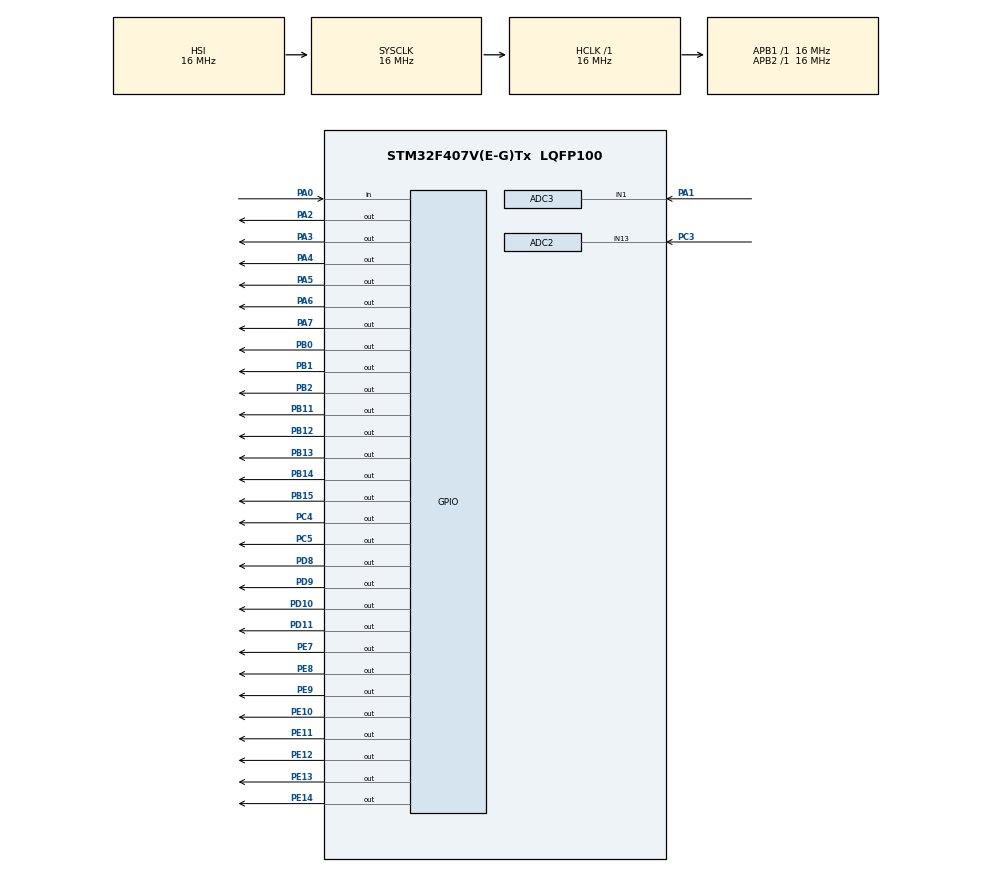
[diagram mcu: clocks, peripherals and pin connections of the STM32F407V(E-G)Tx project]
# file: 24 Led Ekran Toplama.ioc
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ADC2.Channel-1\#ChannelRegularConversion=ADC_CHANNEL_13
ADC2.NbrOfConversionFlag=1
ADC2.Rank-1\#ChannelRegularConversion=1
ADC2.Resolution=ADC_RESOLUTION_8B
ADC2.SamplingTime-1\#ChannelRegularConversion=ADC_SAMPLETIME_144CYCLES
ADC3.Channel-1\#ChannelRegularConversion=ADC_CHANNEL_1
ADC3.NbrOfConversionFlag=1
ADC3.Rank-1\#ChannelRegularConversion=1
ADC3.Resolution=ADC_RESOLUTION_8B
ADC3.SamplingTime-1\#ChannelRegularConversion=ADC_SAMPLETIME_144CYCLES
Mcu.Family=STM32F4
Mcu.Name=STM32F407V(E-G)Tx
Mcu.Package=LQFP100
NVIC.ADC_IRQn=true\:0\:0\:false\:false\:true\:true\:true\:true
NVIC.PriorityGroup=NVIC_PRIORITYGROUP_4
PA0-WKUP.Signal=GPIO_Input
PA1.Signal=ADCx_IN1
PA2.Signal=GPIO_Output
PA3.Signal=GPIO_Output
PA4.Signal=GPIO_Output
PA5.Signal=GPIO_Output
PA6.Signal=GPIO_Output
PA7.Signal=GPIO_Output
PB0.Signal=GPIO_Output
PB1.Signal=GPIO_Output
PB11.Signal=GPIO_Output
PB12.Signal=GPIO_Output
PB13.Signal=GPIO_Output
PB14.Signal=GPIO_Output
PB15.Signal=GPIO_Output
PB2.Signal=GPIO_Output
PC3.Signal=ADCx_IN13
PC4.Signal=GPIO_Output
PC5.Signal=GPIO_Output
PD10.Signal=GPIO_Output
PD11.Signal=GPIO_Output
PD8.Signal=GPIO_Output
PD9.Signal=GPIO_Output
PE10.Signal=GPIO_Output
PE11.Signal=GPIO_Output
PE12.Signal=GPIO_Output
PE13.Signal=GPIO_Output
PE14.Signal=GPIO_Output
PE7.Signal=GPIO_Output
PE8.Signal=GPIO_Output
PE9.Signal=GPIO_Output
ProjectManager.HeapSize=0x200
ProjectManager.StackSize=0x400
ProjectManager.TargetToolchain=STM32CubeIDE
RCC.AHBFreq_Value=16000000
RCC.APB1Freq_Value=16000000
RCC.APB2Freq_Value=16000000
RCC.CortexFreq_Value=16000000
RCC.HSE_VALUE=25000000
RCC.HSI_VALUE=16000000
RCC.LSE_VALUE=32768
RCC.SYSCLKFreq_VALUE=16000000
RCC.VCOOutputFreq_Value=192000000
SH.ADCx_IN1.0=ADC3_IN1,IN1
SH.ADCx_IN13.0=ADC2_IN13,IN13
board=custom

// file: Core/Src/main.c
/* USER CODE BEGIN Header */
/**
 ******************************************************************************
 * @file           : main.c
 * @brief          : Main program body
 ******************************************************************************
 * @attention
 *
 * Copyright (c) 2026 STMicroelectronics.
 * All rights reserved.
 *
 * This software is licensed under terms that can be found in the LICENSE file
 * in the root directory of this software component.
 * If no LICENSE file comes with this software, it is provided AS-IS.
 *
 ******************************************************************************
 */
/* USER CODE END Header */
#include "main.h"

ADC_HandleTypeDef hadc2;
ADC_HandleTypeDef hadc3;

/* USER CODE BEGIN PV */

volatile uint8_t analog_variable1 = 0;
volatile uint8_t analog_variable2 = 0;
volatile uint8_t clean_value1 = 0;
volatile uint8_t clean_value2 = 0;
volatile uint8_t button_state = 0;
volatile uint8_t summation = 0;
uint8_t zero = 0;

void Led_1_Numbers(uint8_t number);
void Led_2_Numbers(uint8_t number);
void Led_3_Numbers(uint8_t number);
void Led_4_Numbers(uint8_t number);
uint8_t ADC_Translation_Division(uint8_t variable);
void Print_screen12(uint8_t number);
void Print_screen34(uint8_t number);
uint8_t addition(void);

/* USER CODE END PV */

void SystemClock_Config(void);
static void MX_GPIO_Init(void);
static void MX_ADC2_Init(void);
static void MX_ADC3_Init(void);
/* USER CODE BEGIN PFP */

void HAL_ADC_ConvCpltCallback(ADC_HandleTypeDef *hadc) {
	if (hadc->Instance == ADC2) {
		analog_variable1 = HAL_ADC_GetValue(&hadc2);
	} else if (hadc->Instance == ADC3) {
		analog_variable2 = HAL_ADC_GetValue(&hadc3);
	}
}

/* USER CODE END PFP */

/* USER CODE BEGIN 0 */

void Led_1_Numbers(uint8_t number);

void Led_2_Numbers(uint8_t number);

void Led_3_Numbers(uint8_t number);

void Led_4_Numbers(uint8_t number);

uint8_t ADC_Translation_Division(uint8_t variable);

void Print_screen12(uint8_t number);

void Print_screen34(uint8_t number);

uint8_t addition(void);

void Reset_state(void);

/* USER CODE END 0 */

int main(void) {

	/* MCU Configuration--------------------------------------------------------*/

	/* Reset of all peripherals, Initializes the Flash interface and the Systick. */
	HAL_Init();

	/* Configure the system clock */
	SystemClock_Config();

	/* Initialize all configured peripherals */
	MX_GPIO_Init();
	MX_ADC2_Init();
	MX_ADC3_Init();
	/* USER CODE BEGIN 2 */
	HAL_ADC_Start_IT(&hadc2);
	HAL_ADC_Start_IT(&hadc3);

	/* USER CODE END 2 */

	/* Infinite loop */
	while (1) {

		/* USER CODE BEGIN 3 */

		HAL_ADC_Start_IT(&hadc2);
		HAL_ADC_Start_IT(&hadc3);

		clean_value1 = ADC_Translation_Division(analog_variable1);
		clean_value2 = ADC_Translation_Division(analog_variable2);

		button_state = HAL_GPIO_ReadPin(GPIOA, GPIO_PIN_0);

		Reset_state();

		if (button_state == 1)
		{
		    summation = addition();

		    Print_screen12(summation);
		    Print_screen34(0);
		}
		else
		{
		    Print_screen12(clean_value1);
		    Print_screen34(clean_value2);
		}

	}
	/* USER CODE END 3 */
}

uint8_t addition(void) {
	return clean_value1 + clean_value2;
}
void Reset_state(void){
	HAL_GPIO_WritePin(GPIOA, GPIO_PIN_2 | GPIO_PIN_3 | GPIO_PIN_4 | GPIO_PIN_5 | GPIO_PIN_6 | GPIO_PIN_7, GPIO_PIN_RESET);

	HAL_GPIO_WritePin(GPIOC, GPIO_PIN_4 | GPIO_PIN_5, GPIO_PIN_RESET);

	HAL_GPIO_WritePin(GPIOB, GPIO_PIN_0 | GPIO_PIN_1 | GPIO_PIN_2 | GPIO_PIN_11 | GPIO_PIN_12 | GPIO_PIN_13 | GPIO_PIN_14 | GPIO_PIN_15, GPIO_PIN_RESET);

	HAL_GPIO_WritePin(GPIOE, GPIO_PIN_7 | GPIO_PIN_8 | GPIO_PIN_9 | GPIO_PIN_10 | GPIO_PIN_11 | GPIO_PIN_12 | GPIO_PIN_13 | GPIO_PIN_14, GPIO_PIN_RESET);

	HAL_GPIO_WritePin(GPIOD, GPIO_PIN_8 | GPIO_PIN_9 | GPIO_PIN_10 | GPIO_PIN_11, GPIO_PIN_RESET);
}

void Print_screen12(uint8_t number) {
    uint8_t units = number % 10;
    uint8_t tens = number / 10;
    Led_2_Numbers(tens);
    Led_1_Numbers(units);
}

void Print_screen34(uint8_t number) {
    uint8_t units = number % 10;
    uint8_t tens = number / 10;
    Led_4_Numbers(tens);
    Led_3_Numbers(units);
}

uint8_t ADC_Translation_Division(uint8_t variable) {

    if (variable <= 12) return 0;
    else if (variable <= 24) return 1;
    else if (variable <= 36) return 2;
    else if (variable <= 48) return 3;
    else if (variable <= 60) return 4;
    else if (variable <= 72) return 5;
    else if (variable <= 84) return 6;
    else if (variable <= 96) return 7;
    else if (variable <= 108) return 8;
    else if (variable <= 120) return 9;
    else if (variable <= 132) return 10;
    else if (variable <= 144) return 11;
    else if (variable <= 156) return 12;
    else if (variable <= 168) return 13;
    else if (variable <= 180) return 14;
    else if (variable <= 192) return 15;
    else if (variable <= 204) return 16;
    else if (variable <= 216) return 17;
    else if (variable <= 228) return 18;
    else if (variable <= 240) return 19;
    else return 20;

}

void Led_1_Numbers(uint8_t number) {

	HAL_GPIO_WritePin(GPIOE, GPIO_PIN_8, GPIO_PIN_RESET);

	HAL_GPIO_WritePin(GPIOE, GPIO_PIN_9, GPIO_PIN_RESET);

	HAL_GPIO_WritePin(GPIOE, GPIO_PIN_10, GPIO_PIN_RESET);

	HAL_GPIO_WritePin(GPIOE, GPIO_PIN_11, GPIO_PIN_RESET);

	HAL_GPIO_WritePin(GPIOE, GPIO_PIN_14, GPIO_PIN_RESET);

	HAL_GPIO_WritePin(GPIOE, GPIO_PIN_13, GPIO_PIN_RESET);

	HAL_GPIO_WritePin(GPIOE, GPIO_PIN_12, GPIO_PIN_RESET);

	if (number == 0) {

		HAL_GPIO_WritePin(GPIOE, GPIO_PIN_8, GPIO_PIN_SET);

		HAL_GPIO_WritePin(GPIOE, GPIO_PIN_9, GPIO_PIN_SET);

		HAL_GPIO_WritePin(GPIOE, GPIO_PIN_10, GPIO_PIN_SET);

		HAL_GPIO_WritePin(GPIOE, GPIO_PIN_14, GPIO_PIN_SET);

		HAL_GPIO_WritePin(GPIOE, GPIO_PIN_13, GPIO_PIN_SET);

		HAL_GPIO_WritePin(GPIOE, GPIO_PIN_12, GPIO_PIN_SET);

	} else if (number == 1) {

		HAL_GPIO_WritePin(GPIOE, GPIO_PIN_8, GPIO_PIN_SET);

		HAL_GPIO_WritePin(GPIOE, GPIO_PIN_14, GPIO_PIN_SET);

	} else if (number == 2) {

		HAL_GPIO_WritePin(GPIOE, GPIO_PIN_8, GPIO_PIN_SET);

		HAL_GPIO_WritePin(GPIOE, GPIO_PIN_9, GPIO_PIN_SET);

		HAL_GPIO_WritePin(GPIOE, GPIO_PIN_11, GPIO_PIN_SET);

		HAL_GPIO_WritePin(GPIOE, GPIO_PIN_12, GPIO_PIN_SET);

		HAL_GPIO_WritePin(GPIOE, GPIO_PIN_13, GPIO_PIN_SET);

	} else if (number == 3) {

		HAL_GPIO_WritePin(GPIOE, GPIO_PIN_9, GPIO_PIN_SET);

		HAL_GPIO_WritePin(GPIOE, GPIO_PIN_8, GPIO_PIN_SET);

		HAL_GPIO_WritePin(GPIOE, GPIO_PIN_11, GPIO_PIN_SET);

		HAL_GPIO_WritePin(GPIOE, GPIO_PIN_14, GPIO_PIN_SET);

		HAL_GPIO_WritePin(GPIOE, GPIO_PIN_13, GPIO_PIN_SET);

	} else if (number == 4) {

		HAL_GPIO_WritePin(GPIOE, GPIO_PIN_10, GPIO_PIN_SET);

		HAL_GPIO_WritePin(GPIOE, GPIO_PIN_11, GPIO_PIN_SET);

		HAL_GPIO_WritePin(GPIOE, GPIO_PIN_8, GPIO_PIN_SET);

		HAL_GPIO_WritePin(GPIOE, GPIO_PIN_14, GPIO_PIN_SET);

	} else if (number == 5) {

		HAL_GPIO_WritePin(GPIOE, GPIO_PIN_9, GPIO_PIN_SET);

		HAL_GPIO_WritePin(GPIOE, GPIO_PIN_10, GPIO_PIN_SET);

		HAL_GPIO_WritePin(GPIOE, GPIO_PIN_11, GPIO_PIN_SET);

		HAL_GPIO_WritePin(GPIOE, GPIO_PIN_14, GPIO_PIN_SET);

		HAL_GPIO_WritePin(GPIOE, GPIO_PIN_13, GPIO_PIN_SET);

	} else if (number == 6) {

		HAL_GPIO_WritePin(GPIOE, GPIO_PIN_9, GPIO_PIN_SET);

		HAL_GPIO_WritePin(GPIOE, GPIO_PIN_10, GPIO_PIN_SET);

		HAL_GPIO_WritePin(GPIOE, GPIO_PIN_11, GPIO_PIN_SET);

		HAL_GPIO_WritePin(GPIOE, GPIO_PIN_14, GPIO_PIN_SET);

		HAL_GPIO_WritePin(GPIOE, GPIO_PIN_13, GPIO_PIN_SET);

		HAL_GPIO_WritePin(GPIOE, GPIO_PIN_12, GPIO_PIN_SET);

	} else if (number == 7) {

		HAL_GPIO_WritePin(GPIOE, GPIO_PIN_9, GPIO_PIN_SET);

		HAL_GPIO_WritePin(GPIOE, GPIO_PIN_8, GPIO_PIN_SET);

		HAL_GPIO_WritePin(GPIOE, GPIO_PIN_14, GPIO_PIN_SET);

	} else if (number == 8) {

		HAL_GPIO_WritePin(GPIOE, GPIO_PIN_9, GPIO_PIN_SET);

		HAL_GPIO_WritePin(GPIOE, GPIO_PIN_10, GPIO_PIN_SET);

		HAL_GPIO_WritePin(GPIOE, GPIO_PIN_11, GPIO_PIN_SET);

		HAL_GPIO_WritePin(GPIOE, GPIO_PIN_14, GPIO_PIN_SET);

		HAL_GPIO_WritePin(GPIOE, GPIO_PIN_13, GPIO_PIN_SET);

		HAL_GPIO_WritePin(GPIOE, GPIO_PIN_12, GPIO_PIN_SET);

		HAL_GPIO_WritePin(GPIOE, GPIO_PIN_8, GPIO_PIN_SET);

	} else if (number == 9) {

		HAL_GPIO_WritePin(GPIOE, GPIO_PIN_9, GPIO_PIN_SET);

		HAL_GPIO_WritePin(GPIOE, GPIO_PIN_10, GPIO_PIN_SET);

		HAL_GPIO_WritePin(GPIOE, GPIO_PIN_11, GPIO_PIN_SET);

		HAL_GPIO_WritePin(GPIOE, GPIO_PIN_14, GPIO_PIN_SET);

		HAL_GPIO_WritePin(GPIOE, GPIO_PIN_13, GPIO_PIN_SET);

		HAL_GPIO_WritePin(GPIOE, GPIO_PIN_8, GPIO_PIN_SET);

	}

}

void Led_2_Numbers(uint8_t number) {

	HAL_GPIO_WritePin(GPIOB, GPIO_PIN_0, GPIO_PIN_RESET);

	HAL_GPIO_WritePin(GPIOB, GPIO_PIN_1, GPIO_PIN_RESET);

	HAL_GPIO_WritePin(GPIOB, GPIO_PIN_2, GPIO_PIN_RESET);

	HAL_GPIO_WritePin(GPIOE, GPIO_PIN_7, GPIO_PIN_RESET);

	HAL_GPIO_WritePin(GPIOB, GPIO_PIN_13, GPIO_PIN_RESET);

	HAL_GPIO_WritePin(GPIOB, GPIO_PIN_12, GPIO_PIN_RESET);

	HAL_GPIO_WritePin(GPIOB, GPIO_PIN_11, GPIO_PIN_RESET);

	if (number == 0) {

		HAL_GPIO_WritePin(GPIOB, GPIO_PIN_0, GPIO_PIN_SET);

		HAL_GPIO_WritePin(GPIOB, GPIO_PIN_1, GPIO_PIN_SET);

		HAL_GPIO_WritePin(GPIOB, GPIO_PIN_2, GPIO_PIN_SET);

		HAL_GPIO_WritePin(GPIOB, GPIO_PIN_13, GPIO_PIN_SET);

		HAL_GPIO_WritePin(GPIOB, GPIO_PIN_12, GPIO_PIN_SET);

		HAL_GPIO_WritePin(GPIOB, GPIO_PIN_11, GPIO_PIN_SET);

	} else if (number == 1) {

		HAL_GPIO_WritePin(GPIOB, GPIO_PIN_0, GPIO_PIN_SET);

		HAL_GPIO_WritePin(GPIOB, GPIO_PIN_13, GPIO_PIN_SET);

	} else if (number == 2) {

		HAL_GPIO_WritePin(GPIOB, GPIO_PIN_0, GPIO_PIN_SET);

		HAL_GPIO_WritePin(GPIOB, GPIO_PIN_1, GPIO_PIN_SET);

		HAL_GPIO_WritePin(GPIOE, GPIO_PIN_7, GPIO_PIN_SET);

		HAL_GPIO_WritePin(GPIOB, GPIO_PIN_11, GPIO_PIN_SET);

		HAL_GPIO_WritePin(GPIOB, GPIO_PIN_12, GPIO_PIN_SET);

	} else if (number == 3) {

		HAL_GPIO_WritePin(GPIOB, GPIO_PIN_1, GPIO_PIN_SET);

		HAL_GPIO_WritePin(GPIOB, GPIO_PIN_0, GPIO_PIN_SET);

		HAL_GPIO_WritePin(GPIOE, GPIO_PIN_7, GPIO_PIN_SET);

		HAL_GPIO_WritePin(GPIOB, GPIO_PIN_13, GPIO_PIN_SET);

		HAL_GPIO_WritePin(GPIOB, GPIO_PIN_12, GPIO_PIN_SET);

	} else if (number == 4) {

		HAL_GPIO_WritePin(GPIOB, GPIO_PIN_2, GPIO_PIN_SET);

		HAL_GPIO_WritePin(GPIOE, GPIO_PIN_7, GPIO_PIN_SET);

		HAL_GPIO_WritePin(GPIOB, GPIO_PIN_0, GPIO_PIN_SET);

		HAL_GPIO_WritePin(GPIOB, GPIO_PIN_13, GPIO_PIN_SET);

	} else if (number == 5) {

		HAL_GPIO_WritePin(GPIOB, GPIO_PIN_1, GPIO_PIN_SET);

		HAL_GPIO_WritePin(GPIOB, GPIO_PIN_2, GPIO_PIN_SET);

		HAL_GPIO_WritePin(GPIOE, GPIO_PIN_7, GPIO_PIN_SET);

		HAL_GPIO_WritePin(GPIOB, GPIO_PIN_13, GPIO_PIN_SET);

		HAL_GPIO_WritePin(GPIOB, GPIO_PIN_12, GPIO_PIN_SET);

	} else if (number == 6) {

		HAL_GPIO_WritePin(GPIOB, GPIO_PIN_1, GPIO_PIN_SET);

		HAL_GPIO_WritePin(GPIOB, GPIO_PIN_2, GPIO_PIN_SET);

		HAL_GPIO_WritePin(GPIOE, GPIO_PIN_7, GPIO_PIN_SET);

		HAL_GPIO_WritePin(GPIOB, GPIO_PIN_13, GPIO_PIN_SET);

		HAL_GPIO_WritePin(GPIOB, GPIO_PIN_12, GPIO_PIN_SET);

		HAL_GPIO_WritePin(GPIOB, GPIO_PIN_11, GPIO_PIN_SET);

	} else if (number == 7) {

		HAL_GPIO_WritePin(GPIOB, GPIO_PIN_1, GPIO_PIN_SET);

		HAL_GPIO_WritePin(GPIOB, GPIO_PIN_0, GPIO_PIN_SET);

		HAL_GPIO_WritePin(GPIOB, GPIO_PIN_13, GPIO_PIN_SET);

	} else if (number == 8) {

		HAL_GPIO_WritePin(GPIOB, GPIO_PIN_1, GPIO_PIN_SET);

		HAL_GPIO_WritePin(GPIOB, GPIO_PIN_2, GPIO_PIN_SET);

		HAL_GPIO_WritePin(GPIOE, GPIO_PIN_7, GPIO_PIN_SET);

		HAL_GPIO_WritePin(GPIOB, GPIO_PIN_13, GPIO_PIN_SET);

		HAL_GPIO_WritePin(GPIOB, GPIO_PIN_12, GPIO_PIN_SET);

		HAL_GPIO_WritePin(GPIOB, GPIO_PIN_11, GPIO_PIN_SET);

		HAL_GPIO_WritePin(GPIOB, GPIO_PIN_0, GPIO_PIN_SET);

	} else if (number == 9) {

		HAL_GPIO_WritePin(GPIOB, GPIO_PIN_1, GPIO_PIN_SET);

		HAL_GPIO_WritePin(GPIOB, GPIO_PIN_2, GPIO_PIN_SET);

		HAL_GPIO_WritePin(GPIOE, GPIO_PIN_7, GPIO_PIN_SET);

		HAL_GPIO_WritePin(GPIOB, GPIO_PIN_13, GPIO_PIN_SET);

		HAL_GPIO_WritePin(GPIOB, GPIO_PIN_12, GPIO_PIN_SET);

		HAL_GPIO_WritePin(GPIOB, GPIO_PIN_0, GPIO_PIN_SET);

	}

}

void Led_3_Numbers(uint8_t number) {

	HAL_GPIO_WritePin(GPIOA, GPIO_PIN_6, GPIO_PIN_RESET);

	HAL_GPIO_WritePin(GPIOA, GPIO_PIN_7, GPIO_PIN_RESET);

	HAL_GPIO_WritePin(GPIOC, GPIO_PIN_4, GPIO_PIN_RESET);

	HAL_GPIO_WritePin(GPIOC, GPIO_PIN_5, GPIO_PIN_RESET);

	HAL_GPIO_WritePin(GPIOD, GPIO_PIN_8, GPIO_PIN_RESET);

	HAL_GPIO_WritePin(GPIOB, GPIO_PIN_15, GPIO_PIN_RESET);

	HAL_GPIO_WritePin(GPIOB, GPIO_PIN_14, GPIO_PIN_RESET);

	if (number == 0) {

		HAL_GPIO_WritePin(GPIOA, GPIO_PIN_6, GPIO_PIN_SET);

		HAL_GPIO_WritePin(GPIOA, GPIO_PIN_7, GPIO_PIN_SET);

		HAL_GPIO_WritePin(GPIOC, GPIO_PIN_4, GPIO_PIN_SET);

		HAL_GPIO_WritePin(GPIOD, GPIO_PIN_8, GPIO_PIN_SET);

		HAL_GPIO_WritePin(GPIOB, GPIO_PIN_15, GPIO_PIN_SET);

		HAL_GPIO_WritePin(GPIOB, GPIO_PIN_14, GPIO_PIN_SET);

	} else if (number == 1) {

		HAL_GPIO_WritePin(GPIOA, GPIO_PIN_6, GPIO_PIN_SET);

		HAL_GPIO_WritePin(GPIOD, GPIO_PIN_8, GPIO_PIN_SET);

	} else if (number == 2) {

		HAL_GPIO_WritePin(GPIOA, GPIO_PIN_6, GPIO_PIN_SET);

		HAL_GPIO_WritePin(GPIOA, GPIO_PIN_7, GPIO_PIN_SET);

		HAL_GPIO_WritePin(GPIOC, GPIO_PIN_5, GPIO_PIN_SET);

		HAL_GPIO_WritePin(GPIOB, GPIO_PIN_14, GPIO_PIN_SET);

		HAL_GPIO_WritePin(GPIOB, GPIO_PIN_15, GPIO_PIN_SET);

	} else if (number == 3) {

		HAL_GPIO_WritePin(GPIOA, GPIO_PIN_7, GPIO_PIN_SET);

		HAL_GPIO_WritePin(GPIOA, GPIO_PIN_6, GPIO_PIN_SET);

		HAL_GPIO_WritePin(GPIOC, GPIO_PIN_5, GPIO_PIN_SET);

		HAL_GPIO_WritePin(GPIOD, GPIO_PIN_8, GPIO_PIN_SET);

		HAL_GPIO_WritePin(GPIOB, GPIO_PIN_15, GPIO_PIN_SET);

	} else if (number == 4) {

		HAL_GPIO_WritePin(GPIOC, GPIO_PIN_4, GPIO_PIN_SET);

		HAL_GPIO_WritePin(GPIOC, GPIO_PIN_5, GPIO_PIN_SET);

		HAL_GPIO_WritePin(GPIOA, GPIO_PIN_6, GPIO_PIN_SET);

		HAL_GPIO_WritePin(GPIOD, GPIO_PIN_8, GPIO_PIN_SET);

	} else if (number == 5) {

		HAL_GPIO_WritePin(GPIOA, GPIO_PIN_7, GPIO_PIN_SET);

		HAL_GPIO_WritePin(GPIOC, GPIO_PIN_4, GPIO_PIN_SET);

		HAL_GPIO_WritePin(GPIOC, GPIO_PIN_5, GPIO_PIN_SET);

		HAL_GPIO_WritePin(GPIOD, GPIO_PIN_8, GPIO_PIN_SET);

		HAL_GPIO_WritePin(GPIOB, GPIO_PIN_15, GPIO_PIN_SET);

	} else if (number == 6) {

		HAL_GPIO_WritePin(GPIOA, GPIO_PIN_7, GPIO_PIN_SET);

		HAL_GPIO_WritePin(GPIOC, GPIO_PIN_4, GPIO_PIN_SET);

		HAL_GPIO_WritePin(GPIOC, GPIO_PIN_5, GPIO_PIN_SET);

		HAL_GPIO_WritePin(GPIOD, GPIO_PIN_8, GPIO_PIN_SET);

		HAL_GPIO_WritePin(GPIOB, GPIO_PIN_15, GPIO_PIN_SET);

		HAL_GPIO_WritePin(GPIOB, GPIO_PIN_14, GPIO_PIN_SET);

	} else if (number == 7) {

		HAL_GPIO_WritePin(GPIOA, GPIO_PIN_7, GPIO_PIN_SET);

		HAL_GPIO_WritePin(GPIOA, GPIO_PIN_6, GPIO_PIN_SET);

		HAL_GPIO_WritePin(GPIOD, GPIO_PIN_8, GPIO_PIN_SET);

	} else if (number == 8) {

		HAL_GPIO_WritePin(GPIOA, GPIO_PIN_7, GPIO_PIN_SET);

		HAL_GPIO_WritePin(GPIOC, GPIO_PIN_4, GPIO_PIN_SET);

		HAL_GPIO_WritePin(GPIOC, GPIO_PIN_5, GPIO_PIN_SET);

		HAL_GPIO_WritePin(GPIOD, GPIO_PIN_8, GPIO_PIN_SET);

		HAL_GPIO_WritePin(GPIOB, GPIO_PIN_15, GPIO_PIN_SET);

		HAL_GPIO_WritePin(GPIOB, GPIO_PIN_14, GPIO_PIN_SET);

		HAL_GPIO_WritePin(GPIOA, GPIO_PIN_6, GPIO_PIN_SET);

	} else if (number == 9) {

		HAL_GPIO_WritePin(GPIOA, GPIO_PIN_7, GPIO_PIN_SET);

		HAL_GPIO_WritePin(GPIOC, GPIO_PIN_4, GPIO_PIN_SET);

		HAL_GPIO_WritePin(GPIOC, GPIO_PIN_5, GPIO_PIN_SET);

		HAL_GPIO_WritePin(GPIOD, GPIO_PIN_8, GPIO_PIN_SET);

		HAL_GPIO_WritePin(GPIOB, GPIO_PIN_15, GPIO_PIN_SET);

		HAL_GPIO_WritePin(GPIOA, GPIO_PIN_6, GPIO_PIN_SET);

	}

}

void Led_4_Numbers(uint8_t number) {

	HAL_GPIO_WritePin(GPIOA, GPIO_PIN_2, GPIO_PIN_RESET);

	HAL_GPIO_WritePin(GPIOA, GPIO_PIN_3, GPIO_PIN_RESET);

	HAL_GPIO_WritePin(GPIOA, GPIO_PIN_4, GPIO_PIN_RESET);

	HAL_GPIO_WritePin(GPIOA, GPIO_PIN_5, GPIO_PIN_RESET);

	HAL_GPIO_WritePin(GPIOD, GPIO_PIN_11, GPIO_PIN_RESET);

	HAL_GPIO_WritePin(GPIOD, GPIO_PIN_10, GPIO_PIN_RESET);

	HAL_GPIO_WritePin(GPIOD, GPIO_PIN_9, GPIO_PIN_RESET);

	if (number == 0) {

		HAL_GPIO_WritePin(GPIOA, GPIO_PIN_2, GPIO_PIN_SET);

		HAL_GPIO_WritePin(GPIOA, GPIO_PIN_3, GPIO_PIN_SET);

		HAL_GPIO_WritePin(GPIOA, GPIO_PIN_4, GPIO_PIN_SET);

		HAL_GPIO_WritePin(GPIOD, GPIO_PIN_11, GPIO_PIN_SET);

		HAL_GPIO_WritePin(GPIOD, GPIO_PIN_10, GPIO_PIN_SET);

		HAL_GPIO_WritePin(GPIOD, GPIO_PIN_9, GPIO_PIN_SET);

	} else if (number == 1) {

		HAL_GPIO_WritePin(GPIOA, GPIO_PIN_2, GPIO_PIN_SET);

		HAL_GPIO_WritePin(GPIOD, GPIO_PIN_11, GPIO_PIN_SET);

	} else if (number == 2) {

		HAL_GPIO_WritePin(GPIOA, GPIO_PIN_2, GPIO_PIN_SET);

		HAL_GPIO_WritePin(GPIOA, GPIO_PIN_3, GPIO_PIN_SET);

		HAL_GPIO_WritePin(GPIOA, GPIO_PIN_5, GPIO_PIN_SET);

		HAL_GPIO_WritePin(GPIOD, GPIO_PIN_9, GPIO_PIN_SET);

		HAL_GPIO_WritePin(GPIOD, GPIO_PIN_10, GPIO_PIN_SET);

	} else if (number == 3) {

		HAL_GPIO_WritePin(GPIOA, GPIO_PIN_3, GPIO_PIN_SET);

		HAL_GPIO_WritePin(GPIOA, GPIO_PIN_2, GPIO_PIN_SET);

		HAL_GPIO_WritePin(GPIOA, GPIO_PIN_5, GPIO_PIN_SET);

		HAL_GPIO_WritePin(GPIOD, GPIO_PIN_11, GPIO_PIN_SET);

		HAL_GPIO_WritePin(GPIOD, GPIO_PIN_10, GPIO_PIN_SET);

	} else if (number == 4) {

		HAL_GPIO_WritePin(GPIOA, GPIO_PIN_4, GPIO_PIN_SET);

		HAL_GPIO_WritePin(GPIOA, GPIO_PIN_5, GPIO_PIN_SET);

		HAL_GPIO_WritePin(GPIOA, GPIO_PIN_2, GPIO_PIN_SET);

		HAL_GPIO_WritePin(GPIOD, GPIO_PIN_11, GPIO_PIN_SET);

	} else if (number == 5) {

		HAL_GPIO_WritePin(GPIOA, GPIO_PIN_3, GPIO_PIN_SET);

		HAL_GPIO_WritePin(GPIOA, GPIO_PIN_4, GPIO_PIN_SET);

		HAL_GPIO_WritePin(GPIOA, GPIO_PIN_5, GPIO_PIN_SET);

		HAL_GPIO_WritePin(GPIOD, GPIO_PIN_11, GPIO_PIN_SET);

		HAL_GPIO_WritePin(GPIOD, GPIO_PIN_10, GPIO_PIN_SET);

	} else if (number == 6) {

		HAL_GPIO_WritePin(GPIOA, GPIO_PIN_3, GPIO_PIN_SET);

		HAL_GPIO_WritePin(GPIOA, GPIO_PIN_4, GPIO_PIN_SET);

		HAL_GPIO_WritePin(GPIOA, GPIO_PIN_5, GPIO_PIN_SET);

		HAL_GPIO_WritePin(GPIOD, GPIO_PIN_11, GPIO_PIN_SET);

		HAL_GPIO_WritePin(GPIOD, GPIO_PIN_10, GPIO_PIN_SET);

		HAL_GPIO_WritePin(GPIOD, GPIO_PIN_9, GPIO_PIN_SET);

	} else if (number == 7) {

		HAL_GPIO_WritePin(GPIOA, GPIO_PIN_3, GPIO_PIN_SET);

		HAL_GPIO_WritePin(GPIOA, GPIO_PIN_2, GPIO_PIN_SET);

		HAL_GPIO_WritePin(GPIOD, GPIO_PIN_11, GPIO_PIN_SET);

	} else if (number == 8) {

		HAL_GPIO_WritePin(GPIOA, GPIO_PIN_3, GPIO_PIN_SET);

		HAL_GPIO_WritePin(GPIOA, GPIO_PIN_4, GPIO_PIN_SET);

		HAL_GPIO_WritePin(GPIOA, GPIO_PIN_5, GPIO_PIN_SET);

		HAL_GPIO_WritePin(GPIOD, GPIO_PIN_11, GPIO_PIN_SET);

		HAL_GPIO_WritePin(GPIOD, GPIO_PIN_10, GPIO_PIN_SET);

		HAL_GPIO_WritePin(GPIOD, GPIO_PIN_9, GPIO_PIN_SET);

		HAL_GPIO_WritePin(GPIOA, GPIO_PIN_2, GPIO_PIN_SET);

	} else if (number == 9) {

		HAL_GPIO_WritePin(GPIOA, GPIO_PIN_3, GPIO_PIN_SET);

		HAL_GPIO_WritePin(GPIOA, GPIO_PIN_4, GPIO_PIN_SET);

		HAL_GPIO_WritePin(GPIOA, GPIO_PIN_5, GPIO_PIN_SET);

		HAL_GPIO_WritePin(GPIOD, GPIO_PIN_11, GPIO_PIN_SET);

		HAL_GPIO_WritePin(GPIOD, GPIO_PIN_10, GPIO_PIN_SET);

		HAL_GPIO_WritePin(GPIOA, GPIO_PIN_2, GPIO_PIN_SET);

	}

}

void SystemClock_Config(void) {
	RCC_OscInitTypeDef RCC_OscInitStruct = { 0 };
	RCC_ClkInitTypeDef RCC_ClkInitStruct = { 0 };

	/** Configure the main internal regulator output voltage
	 */
	__HAL_RCC_PWR_CLK_ENABLE();
	__HAL_PWR_VOLTAGESCALING_CONFIG(PWR_REGULATOR_VOLTAGE_SCALE1);

	/** Initializes the RCC Oscillators according to the specified parameters
	 * in the RCC_OscInitTypeDef structure.
	 */
	RCC_OscInitStruct.OscillatorType = RCC_OSCILLATORTYPE_HSI;
	RCC_OscInitStruct.HSIState = RCC_HSI_ON;
	RCC_OscInitStruct.HSICalibrationValue = RCC_HSICALIBRATION_DEFAULT;
	RCC_OscInitStruct.PLL.PLLState = RCC_PLL_NONE;
	if (HAL_RCC_OscConfig(&RCC_OscInitStruct) != HAL_OK) {
		Error_Handler();
	}

	/** Initializes the CPU, AHB and APB buses clocks
	 */
	RCC_ClkInitStruct.ClockType = RCC_CLOCKTYPE_HCLK | RCC_CLOCKTYPE_SYSCLK
			| RCC_CLOCKTYPE_PCLK1 | RCC_CLOCKTYPE_PCLK2;
	RCC_ClkInitStruct.SYSCLKSource = RCC_SYSCLKSOURCE_HSI;
	RCC_ClkInitStruct.AHBCLKDivider = RCC_SYSCLK_DIV1;
	RCC_ClkInitStruct.APB1CLKDivider = RCC_HCLK_DIV1;
	RCC_ClkInitStruct.APB2CLKDivider = RCC_HCLK_DIV1;

	if (HAL_RCC_ClockConfig(&RCC_ClkInitStruct, FLASH_LATENCY_0) != HAL_OK) {
		Error_Handler();
	}
}

static void MX_ADC2_Init(void) {

	ADC_ChannelConfTypeDef sConfig = { 0 };

	/** Configure the global features of the ADC (Clock, Resolution, Data Alignment and number of conversion)
	 */
	hadc2.Instance = ADC2;
	hadc2.Init.ClockPrescaler = ADC_CLOCK_SYNC_PCLK_DIV2;
	hadc2.Init.Resolution = ADC_RESOLUTION_8B;
	hadc2.Init.ScanConvMode = DISABLE;
	hadc2.Init.ContinuousConvMode = DISABLE;
	hadc2.Init.DiscontinuousConvMode = DISABLE;
	hadc2.Init.ExternalTrigConvEdge = ADC_EXTERNALTRIGCONVEDGE_NONE;
	hadc2.Init.ExternalTrigConv = ADC_SOFTWARE_START;
	hadc2.Init.DataAlign = ADC_DATAALIGN_RIGHT;
	hadc2.Init.NbrOfConversion = 1;
	hadc2.Init.DMAContinuousRequests = DISABLE;
	hadc2.Init.EOCSelection = ADC_EOC_SINGLE_CONV;
	if (HAL_ADC_Init(&hadc2) != HAL_OK) {
		Error_Handler();
	}

	/** Configure for the selected ADC regular channel its corresponding rank in the sequencer and its sample time.
	 */
	sConfig.Channel = ADC_CHANNEL_13;
	sConfig.Rank = 1;
	sConfig.SamplingTime = ADC_SAMPLETIME_144CYCLES;
	if (HAL_ADC_ConfigChannel(&hadc2, &sConfig) != HAL_OK) {
		Error_Handler();
	}

}

static void MX_ADC3_Init(void) {

	ADC_ChannelConfTypeDef sConfig = { 0 };

	/** Configure the global features of the ADC (Clock, Resolution, Data Alignment and number of conversion)
	 */
	hadc3.Instance = ADC3;
	hadc3.Init.ClockPrescaler = ADC_CLOCK_SYNC_PCLK_DIV2;
	hadc3.Init.Resolution = ADC_RESOLUTION_8B;
	hadc3.Init.ScanConvMode = DISABLE;
	hadc3.Init.ContinuousConvMode = DISABLE;
	hadc3.Init.DiscontinuousConvMode = DISABLE;
	hadc3.Init.ExternalTrigConvEdge = ADC_EXTERNALTRIGCONVEDGE_NONE;
	hadc3.Init.ExternalTrigConv = ADC_SOFTWARE_START;
	hadc3.Init.DataAlign = ADC_DATAALIGN_RIGHT;
	hadc3.Init.NbrOfConversion = 1;
	hadc3.Init.DMAContinuousRequests = DISABLE;
	hadc3.Init.EOCSelection = ADC_EOC_SINGLE_CONV;
	if (HAL_ADC_Init(&hadc3) != HAL_OK) {
		Error_Handler();
	}

	/** Configure for the selected ADC regular channel its corresponding rank in the sequencer and its sample time.
	 */
	sConfig.Channel = ADC_CHANNEL_1;
	sConfig.Rank = 1;
	sConfig.SamplingTime = ADC_SAMPLETIME_144CYCLES;
	if (HAL_ADC_ConfigChannel(&hadc3, &sConfig) != HAL_OK) {
		Error_Handler();
	}

}

static void MX_GPIO_Init(void) {
	GPIO_InitTypeDef GPIO_InitStruct = { 0 };

	/* GPIO Ports Clock Enable */
	__HAL_RCC_GPIOC_CLK_ENABLE();
	__HAL_RCC_GPIOA_CLK_ENABLE();
	__HAL_RCC_GPIOB_CLK_ENABLE();
	__HAL_RCC_GPIOE_CLK_ENABLE();
	__HAL_RCC_GPIOD_CLK_ENABLE();

	/*Configure GPIO pin Output Level */
	HAL_GPIO_WritePin(GPIOA,
	GPIO_PIN_2 | GPIO_PIN_3 | GPIO_PIN_4 | GPIO_PIN_5 | GPIO_PIN_6 | GPIO_PIN_7,
			GPIO_PIN_RESET);

	/*Configure GPIO pin Output Level */
	HAL_GPIO_WritePin(GPIOC, GPIO_PIN_4 | GPIO_PIN_5, GPIO_PIN_RESET);

	/*Configure GPIO pin Output Level */
	HAL_GPIO_WritePin(GPIOB,
			GPIO_PIN_0 | GPIO_PIN_1 | GPIO_PIN_2 | GPIO_PIN_11 | GPIO_PIN_12
					| GPIO_PIN_13 | GPIO_PIN_14 | GPIO_PIN_15, GPIO_PIN_RESET);

	/*Configure GPIO pin Output Level */
	HAL_GPIO_WritePin(GPIOE,
			GPIO_PIN_7 | GPIO_PIN_8 | GPIO_PIN_9 | GPIO_PIN_10 | GPIO_PIN_11
					| GPIO_PIN_12 | GPIO_PIN_13 | GPIO_PIN_14, GPIO_PIN_RESET);

	/*Configure GPIO pin Output Level */
	HAL_GPIO_WritePin(GPIOD,
	GPIO_PIN_8 | GPIO_PIN_9 | GPIO_PIN_10 | GPIO_PIN_11, GPIO_PIN_RESET);

	/*Configure GPIO pin : PA0 */
	GPIO_InitStruct.Pin = GPIO_PIN_0;
	GPIO_InitStruct.Mode = GPIO_MODE_INPUT;
	GPIO_InitStruct.Pull = GPIO_NOPULL;
	HAL_GPIO_Init(GPIOA, &GPIO_InitStruct);

	/*Configure GPIO pins : PA2 PA3 PA4 PA5
	 PA6 PA7 */
	GPIO_InitStruct.Pin = GPIO_PIN_2 | GPIO_PIN_3 | GPIO_PIN_4 | GPIO_PIN_5
			| GPIO_PIN_6 | GPIO_PIN_7;
	GPIO_InitStruct.Mode = GPIO_MODE_OUTPUT_PP;
	GPIO_InitStruct.Pull = GPIO_NOPULL;
	GPIO_InitStruct.Speed = GPIO_SPEED_FREQ_LOW;
	HAL_GPIO_Init(GPIOA, &GPIO_InitStruct);

	/*Configure GPIO pins : PC4 PC5 */
	GPIO_InitStruct.Pin = GPIO_PIN_4 | GPIO_PIN_5;
	GPIO_InitStruct.Mode = GPIO_MODE_OUTPUT_PP;
	GPIO_InitStruct.Pull = GPIO_NOPULL;
	GPIO_InitStruct.Speed = GPIO_SPEED_FREQ_LOW;
	HAL_GPIO_Init(GPIOC, &GPIO_InitStruct);

	/*Configure GPIO pins : PB0 PB1 PB2 PB11
	 PB12 PB13 PB14 PB15 */
	GPIO_InitStruct.Pin = GPIO_PIN_0 | GPIO_PIN_1 | GPIO_PIN_2 | GPIO_PIN_11
			| GPIO_PIN_12 | GPIO_PIN_13 | GPIO_PIN_14 | GPIO_PIN_15;
	GPIO_InitStruct.Mode = GPIO_MODE_OUTPUT_PP;
	GPIO_InitStruct.Pull = GPIO_NOPULL;
	GPIO_InitStruct.Speed = GPIO_SPEED_FREQ_LOW;
	HAL_GPIO_Init(GPIOB, &GPIO_InitStruct);

	/*Configure GPIO pins : PE7 PE8 PE9 PE10
	 PE11 PE12 PE13 PE14 */
	GPIO_InitStruct.Pin = GPIO_PIN_7 | GPIO_PIN_8 | GPIO_PIN_9 | GPIO_PIN_10
			| GPIO_PIN_11 | GPIO_PIN_12 | GPIO_PIN_13 | GPIO_PIN_14;
	GPIO_InitStruct.Mode = GPIO_MODE_OUTPUT_PP;
	GPIO_InitStruct.Pull = GPIO_NOPULL;
	GPIO_InitStruct.Speed = GPIO_SPEED_FREQ_LOW;
	HAL_GPIO_Init(GPIOE, &GPIO_InitStruct);

	/*Configure GPIO pins : PD8 PD9 PD10 PD11 */
	GPIO_InitStruct.Pin = GPIO_PIN_8 | GPIO_PIN_9 | GPIO_PIN_10 | GPIO_PIN_11;
	GPIO_InitStruct.Mode = GPIO_MODE_OUTPUT_PP;
	GPIO_InitStruct.Pull = GPIO_NOPULL;
	GPIO_InitStruct.Speed = GPIO_SPEED_FREQ_LOW;
	HAL_GPIO_Init(GPIOD, &GPIO_InitStruct);

}

void Error_Handler(void) {
	__disable_irq();
	while (1) {
	}
}
